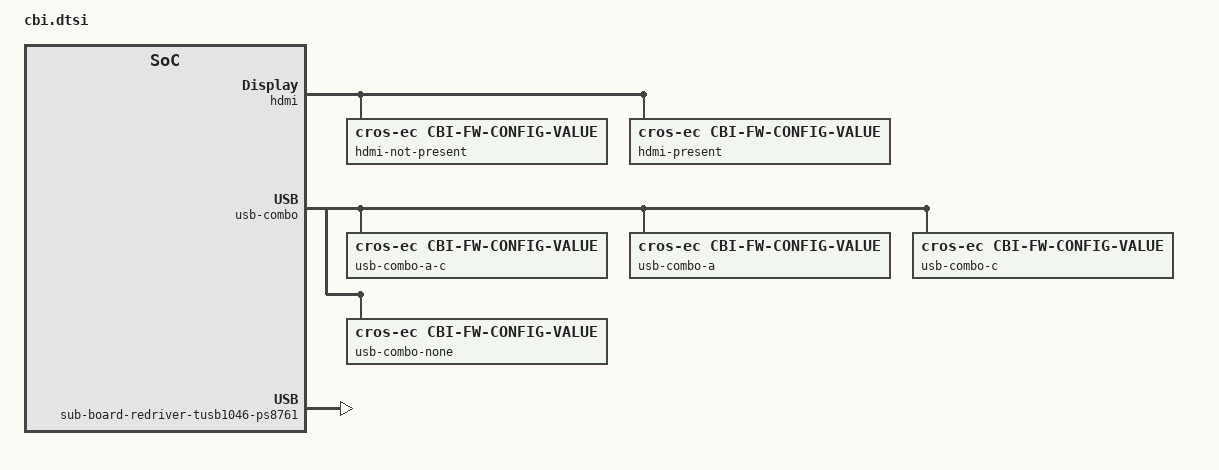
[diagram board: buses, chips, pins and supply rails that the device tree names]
/* Copyright 2024 The ChromiumOS Authors
 * Use of this source code is governed by a BSD-style license that can be
 * found in the LICENSE file.
 */

/ {
	hylia-fw-config {
		compatible = "cros-ec,cbi-fw-config";

		pdc {
			enum-name = "FW_PDC";
			start = <12>;
			size = <1>;
			pdc-not-present {
				compatible = "cros-ec,cbi-fw-config-value";
				enum-name = "FW_PDC_NOT_PRESENT";
				value = <0>;
				default;
			};
			pdc-present {
				compatible = "cros-ec,cbi-fw-config-value";
				enum-name = "FW_PDC_PRESENT";
				value = <1>;
			};
		};
		hdmi {
			enum-name = "FW_HDMI";
			start = <13>;
			size = <1>;
			hdmi-not-present {
				compatible = "cros-ec,cbi-fw-config-value";
				enum-name = "FW_HDMI_NOT_PRESENT";
				value = <0>;
			};
			hdmi-present {
				compatible = "cros-ec,cbi-fw-config-value";
				enum-name = "FW_HDMI_PRESENT";
				value = <1>;
				default;
			};
		};
		fingerprint {
			enum-name = "FW_FINGERPRINT";
			start = <14>;
			size = <2>;

			fp-disabled {
				compatible = "cros-ec,cbi-fw-config-value";
				enum-name = "FW_FP_DISABLED";
				value = <0>;
				default;
			};
			fp-helipilot {
				compatible = "cros-ec,cbi-fw-config-value";
				enum-name = "FW_FP_HELIPILOT";
				value = <1>;
			};
		};
		form-factor {
			enum-name = "FW_FORM_FACTOR";
			start = <16>;
			size = <2>;
			clamshell {
				compatible = "cros-ec,cbi-fw-config-value";
				enum-name = "FW_FORM_FACTOR_CLAMSHELL";
				value = <0>;
			};
			convertible {
				compatible = "cros-ec,cbi-fw-config-value";
				enum-name = "FW_FORM_FACTOR_CONVERTIBLE";
				value = <1>;
			};
			detchable {
				compatible = "cros-ec,cbi-fw-config-value";
				enum-name = "FW_FORM_FACTOR_DETACHABLE";
				value = <2>;
				default;
			};
			chromebox {
				compatible = "cros-ec,cbi-fw-config-value";
				enum-name = "FW_FORM_FACTOR_CHROMEBOX";
				value = <3>;
			};
		};
		panel {
			enum-name = "FW_PANEL";
			start = <18>;
			size = <4>;
			default-panel {
				compatible = "cros-ec,cbi-fw-config-value";
				enum-name = "FW_PANEL_DEFAULT";
				value = <0>;
				default;
			};
			old {
				compatible = "cros-ec,cbi-fw-config-value";
				enum-name = "FW_PANEL_OLD";
				value = <1>;
			};
		};
		kb_bl {
			enum-name = "FW_KB_BL";
			start = <22>;
			size = <1>;
			kb-bl-not-present {
				compatible = "cros-ec,cbi-fw-config-value";
				enum-name = "FW_KB_BL_NOT_PRESENT";
				value = <0>;
			};
			kb-bl-present {
				compatible = "cros-ec,cbi-fw-config-value";
				enum-name = "FW_KB_BL_PRESENT";
				value = <1>;
				default;
			};
		};
		fan {
			enum-name = "FW_FAN";
			start = <23>;
			size = <1>;

			no-fan {
				compatible = "cros-ec,cbi-fw-config-value";
				enum-name = "FW_FAN_NOT_PRESENT";
				value = <0>;
			};
			fan-present {
				compatible = "cros-ec,cbi-fw-config-value";
				enum-name = "FW_FAN_PRESENT";
				value = <1>;
				/*
				 * Set as default so that unprovisioned
				 * configs will run the fan regardless.
				 */
				default;
			};
		};
		usb-combo {
			enum-name = "FW_USB_COMBO";
			start = <24>;
			size = <2>;

			usb-combo-a-c {
				compatible = "cros-ec,cbi-fw-config-value";
				enum-name = "FW_USB_A_C";
				value = <0>;
			};

			usb-combo-a {
				compatible = "cros-ec,cbi-fw-config-value";
				enum-name = "FW_USB_A";
				value = <1>;
				default;
			};
			usb-combo-c {
				compatible = "cros-ec,cbi-fw-config-value";
				enum-name = "FW_USB_C";
				value = <2>;
			};
			usb-combo-none {
				compatible = "cros-ec,cbi-fw-config-value";
				enum-name = "FW_USB_NONE";
				value = <3>;
			};
		};
		sub-board {
			enum-name = "FW_SUB_BOARD";
			start = <26>;
			size = <2>;

			sub-board-none {
				compatible = "cros-ec,cbi-fw-config-value";
				enum-name = "FW_SB_NONE";
				value = <0>;
			};

			sub-board-redriver-tusb1046-ps8761 {
				compatible = "cros-ec,cbi-fw-config-value";
				enum-name = "FW_SB_REDRIVER";
				value = <1>;
				default;
			};
			sub-board-retimer-anx3443-ps8811 {
				compatible = "cros-ec,cbi-fw-config-value";
				enum-name = "FW_SB_RETIMER";
				value = <2>;
			};
		};
		amp {
			enum-name = "FW_AMP";
			start = <28>;
			size = <2>;
		};
		storage {
			enum-name = "FW_STORAGE";
			start = <30>;
			size = <2>;
			ufs-40 {
				compatible = "cros-ec,cbi-fw-config-value";
				enum-name = "FW_STORAGE_UFS_40";
				value = <0>;
			};
			ufs-31 {
				compatible = "cros-ec,cbi-fw-config-value";
				enum-name = "FW_STORAGE_UFS_31";
				value = <1>;
			};
			ufs-40-hs-lss {
				compatible = "cros-ec,cbi-fw-config-value";
				enum-name = "FW_STORAGE_UFS_40_HS_LSS";
				value = <2>;
			};
			nvme {
				compatible = "cros-ec,cbi-fw-config-value";
				enum-name = "FW_STORAGE_NVME";
				value = <3>;
			};
		};
	};
};
